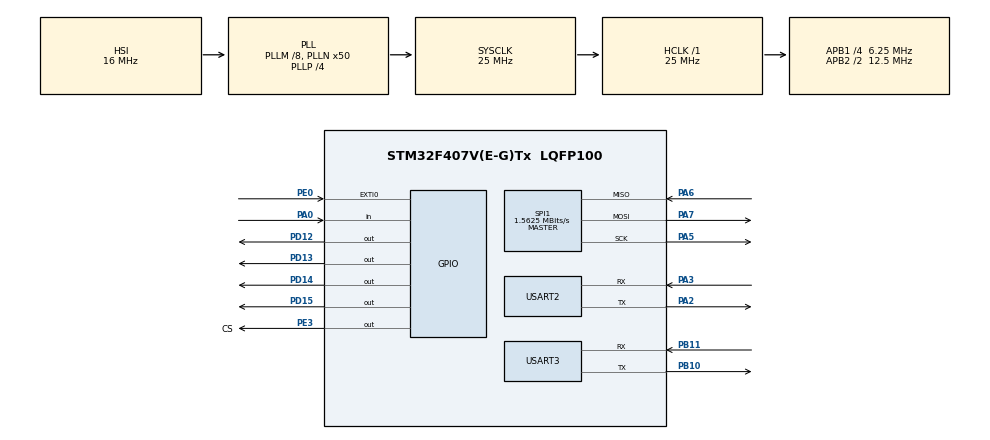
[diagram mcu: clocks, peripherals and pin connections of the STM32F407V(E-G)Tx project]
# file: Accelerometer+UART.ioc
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Mcu.Family=STM32F4
Mcu.Name=STM32F407V(E-G)Tx
Mcu.Package=LQFP100
NVIC.EXTI0_IRQn=true\:0\:0\:false\:false\:true\:true
NVIC.PriorityGroup=NVIC_PRIORITYGROUP_0
NVIC.USART2_IRQn=true\:0\:0\:false\:false\:true\:true
NVIC.USART3_IRQn=true\:0\:0\:false\:false\:true\:true
PA0-WKUP.Signal=GPIO_Input
PA2.Mode=Asynchronous
PA2.Signal=USART2_TX
PA3.Mode=Asynchronous
PA3.Signal=USART2_RX
PA5.Mode=Full_Duplex_Master
PA5.Signal=SPI1_SCK
PA6.Mode=Full_Duplex_Master
PA6.Signal=SPI1_MISO
PA7.Mode=Full_Duplex_Master
PA7.Signal=SPI1_MOSI
PB10.Mode=Asynchronous
PB10.Signal=USART3_TX
PB11.Mode=Asynchronous
PB11.Signal=USART3_RX
PD12.Signal=GPIO_Output
PD13.Signal=GPIO_Output
PD14.Signal=GPIO_Output
PD15.Signal=GPIO_Output
PE0.Signal=GPXTI0
PE3.GPIO_Label=CS
PE3.Signal=GPIO_Output
ProjectManager.HeapSize=0x200
ProjectManager.StackSize=0x400
ProjectManager.TargetToolchain=TrueSTUDIO
RCC.48MHZClocksFreq_Value=14285714.285714285
RCC.AHBFreq_Value=25000000
RCC.APB1CLKDivider=RCC_HCLK_DIV4
RCC.APB1Freq_Value=6250000
RCC.APB1TimFreq_Value=12500000
RCC.APB2CLKDivider=RCC_HCLK_DIV2
RCC.APB2Freq_Value=12500000
RCC.APB2TimFreq_Value=25000000
RCC.CortexFreq_Value=25000000
RCC.HCLKFreq_Value=25000000
RCC.HSE_VALUE=8000000
RCC.HSI_VALUE=16000000
RCC.LSE_VALUE=32768
RCC.PLLM=8
RCC.PLLN=50
RCC.PLLP=RCC_PLLP_DIV4
RCC.PLLQ=7
RCC.SYSCLKFreq_VALUE=25000000
RCC.SYSCLKSource=RCC_SYSCLKSOURCE_PLLCLK
RCC.VCOOutputFreq_Value=100000000
SPI1.BaudRatePrescaler=SPI_BAUDRATEPRESCALER_8
SPI1.CalculateBaudRate=1.5625 MBits/s
SPI1.Direction=SPI_DIRECTION_2LINES
SPI1.Mode=SPI_MODE_MASTER
SPI1.VirtualType=VM_MASTER
USART2.VirtualMode=VM_ASYNC
USART3.VirtualMode=VM_ASYNC
board=STM32F4DISCOVERY

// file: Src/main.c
/* USER CODE BEGIN Header */
/**
  ******************************************************************************
  * @file           : main.c
  * @brief          : Main program body
  ******************************************************************************
  ** This notice applies to any and all portions of this file
  * that are not between comment pairs USER CODE BEGIN and
  * USER CODE END. Other portions of this file, whether
  * inserted by the user or by software development tools
  * are owned by their respective copyright owners.
  *
  * COPYRIGHT(c) 2019 STMicroelectronics
  *
  * Redistribution and use in source and binary forms, with or without modification,
  * are permitted provided that the following conditions are met:
  *   1. Redistributions of source code must retain the above copyright notice,
  *      this list of conditions and the following disclaimer.
  *   2. Redistributions in binary form must reproduce the above copyright notice,
  *      this list of conditions and the following disclaimer in the documentation
  *      and/or other materials provided with the distribution.
  *   3. Neither the name of STMicroelectronics nor the names of its contributors
  *      may be used to endorse or promote products derived from this software
  *      without specific prior written permission.
  *
  * THIS SOFTWARE IS PROVIDED BY THE COPYRIGHT HOLDERS AND CONTRIBUTORS "AS IS"
  * AND ANY EXPRESS OR IMPLIED WARRANTIES, INCLUDING, BUT NOT LIMITED TO, THE
  * IMPLIED WARRANTIES OF MERCHANTABILITY AND FITNESS FOR A PARTICULAR PURPOSE ARE
  * DISCLAIMED. IN NO EVENT SHALL THE COPYRIGHT HOLDER OR CONTRIBUTORS BE LIABLE
  * FOR ANY DIRECT, INDIRECT, INCIDENTAL, SPECIAL, EXEMPLARY, OR CONSEQUENTIAL
  * DAMAGES (INCLUDING, BUT NOT LIMITED TO, PROCUREMENT OF SUBSTITUTE GOODS OR
  * SERVICES; LOSS OF USE, DATA, OR PROFITS; OR BUSINESS INTERRUPTION) HOWEVER
  * CAUSED AND ON ANY THEORY OF LIABILITY, WHETHER IN CONTRACT, STRICT LIABILITY,
  * OR TORT (INCLUDING NEGLIGENCE OR OTHERWISE) ARISING IN ANY WAY OUT OF THE USE
  * OF THIS SOFTWARE, EVEN IF ADVISED OF THE POSSIBILITY OF SUCH DAMAGE.
  *
  ******************************************************************************
  */
/* USER CODE END Header */

#include "main.h"
#include "MY_LIS3DSH.h"
#include "stm32f4xx_hal.h"
#include <string.h>
#include <stdio.h>
#include <stdlib.h>

SPI_HandleTypeDef hspi1;

UART_HandleTypeDef huart2;
UART_HandleTypeDef huart3;

void SystemClock_Config(void);
static void MX_GPIO_Init(void);
static void MX_SPI1_Init(void);
static void MX_USART2_UART_Init(void);
static void MX_USART3_UART_Init(void);

//ACCELEROMETER DATA
LIS3DSH_DataScaled myData;

int main(void)
{
  /* USER CODE BEGIN 1 */
	LIS3DSH_InitTypeDef MyAccConfDeff;
  /* USER CODE END 1 */

  /* MCU Configuration--------------------------------------------------------*/

  /* Reset of all peripherals, Initializes the Flash interface and the Systick. */
  HAL_Init();

  /* Configure the system clock */
  SystemClock_Config();

  /* Initialize all configured peripherals */
  MX_GPIO_Init();
  MX_SPI1_Init();
  MX_USART2_UART_Init();
  MX_USART3_UART_Init();

  /* ACCELEMOTER PARAMETERS */
  MyAccConfDeff.dataRate = LIS3DSH_DATARATE_12_5;
  MyAccConfDeff.fullScale = LIS3DSH_FULLSCALE_4;
  MyAccConfDeff.antiAliasingBW = LIS3DSH_FILTER_BW_50;
  MyAccConfDeff.enableAxes = LIS3DSH_XYZ_ENABLE;
  MyAccConfDeff.interruptEnable = false;

  LIS3DSH_Init(&hspi1, &MyAccConfDeff);

  /*UART VARIABLES*/

  /*ITERATIVE CONTROL*/
  int a=0;
  int b=0;
  int j=0;

  /* Infinite loop */
  /* USER CODE BEGIN WHILE */
  while (1)
  {
	  if(LIS3DSH_PollDRDY(1000) == true ){			//condition for initialize mesure

	 		 myData = LIS3DSH_GetDataScaled();			//mesure

	 		 int datax;
	 		 int datay;

	 		datax=(int)myData.x;		//convert data float-int
	 		datay=(int)myData.y;

	 		char DataX[15];
	 		char DataY[15];
	 		sprintf(DataX,"%d",datax);	//convert data int-string
	 		sprintf(DataY,"%d",datay);
	 		strcat(DataX, "\n");
	 		strcat(DataY, "\n");

	 		 //iterative data send for test a continious graph
	 	  if (a==b) {

	 		  HAL_UART_Transmit(&huart3, (uint8_t *)DataY, strlen(DataY), 5);
	 		  	  a=a+1;
	 		  	  HAL_Delay(10);

	 	} else {
	 		HAL_UART_Transmit(&huart2, (uint8_t *)DataX, strlen(DataX), 5);
	 		j=1;
	 		HAL_Delay(10);

	 	}

	 	  if (j != 0) {

	 		  a=0;
	 		  j=0;

	 	}
	  }
    /* USER CODE END WHILE */

  }
  /* USER CODE END 3 */
}

void SystemClock_Config(void)
{
  RCC_OscInitTypeDef RCC_OscInitStruct = {0};
  RCC_ClkInitTypeDef RCC_ClkInitStruct = {0};

  /**Configure the main internal regulator output voltage
  */
  __HAL_RCC_PWR_CLK_ENABLE();
  __HAL_PWR_VOLTAGESCALING_CONFIG(PWR_REGULATOR_VOLTAGE_SCALE1);
  /**Initializes the CPU, AHB and APB busses clocks
  */
  RCC_OscInitStruct.OscillatorType = RCC_OSCILLATORTYPE_HSI;
  RCC_OscInitStruct.HSIState = RCC_HSI_ON;
  RCC_OscInitStruct.HSICalibrationValue = RCC_HSICALIBRATION_DEFAULT;
  RCC_OscInitStruct.PLL.PLLState = RCC_PLL_ON;
  RCC_OscInitStruct.PLL.PLLSource = RCC_PLLSOURCE_HSI;
  RCC_OscInitStruct.PLL.PLLM = 8;
  RCC_OscInitStruct.PLL.PLLN = 50;
  RCC_OscInitStruct.PLL.PLLP = RCC_PLLP_DIV4;
  RCC_OscInitStruct.PLL.PLLQ = 7;
  if (HAL_RCC_OscConfig(&RCC_OscInitStruct) != HAL_OK)
  {
    Error_Handler();
  }
  /**Initializes the CPU, AHB and APB busses clocks
  */
  RCC_ClkInitStruct.ClockType = RCC_CLOCKTYPE_HCLK|RCC_CLOCKTYPE_SYSCLK
                              |RCC_CLOCKTYPE_PCLK1|RCC_CLOCKTYPE_PCLK2;
  RCC_ClkInitStruct.SYSCLKSource = RCC_SYSCLKSOURCE_PLLCLK;
  RCC_ClkInitStruct.AHBCLKDivider = RCC_SYSCLK_DIV1;
  RCC_ClkInitStruct.APB1CLKDivider = RCC_HCLK_DIV4;
  RCC_ClkInitStruct.APB2CLKDivider = RCC_HCLK_DIV2;

  if (HAL_RCC_ClockConfig(&RCC_ClkInitStruct, FLASH_LATENCY_0) != HAL_OK)
  {
    Error_Handler();
  }
}

static void MX_SPI1_Init(void)
{

  /* SPI1 parameter configuration*/
  hspi1.Instance = SPI1;
  hspi1.Init.Mode = SPI_MODE_MASTER;
  hspi1.Init.Direction = SPI_DIRECTION_2LINES;
  hspi1.Init.DataSize = SPI_DATASIZE_8BIT;
  hspi1.Init.CLKPolarity = SPI_POLARITY_LOW;
  hspi1.Init.CLKPhase = SPI_PHASE_1EDGE;
  hspi1.Init.NSS = SPI_NSS_SOFT;
  hspi1.Init.BaudRatePrescaler = SPI_BAUDRATEPRESCALER_8;
  hspi1.Init.FirstBit = SPI_FIRSTBIT_MSB;
  hspi1.Init.TIMode = SPI_TIMODE_DISABLE;
  hspi1.Init.CRCCalculation = SPI_CRCCALCULATION_DISABLE;
  hspi1.Init.CRCPolynomial = 10;
  if (HAL_SPI_Init(&hspi1) != HAL_OK)
  {
    Error_Handler();
  }

}

static void MX_USART2_UART_Init(void)
{

  huart2.Instance = USART2;
  huart2.Init.BaudRate = 115200;
  huart2.Init.WordLength = UART_WORDLENGTH_8B;
  huart2.Init.StopBits = UART_STOPBITS_1;
  huart2.Init.Parity = UART_PARITY_NONE;
  huart2.Init.Mode = UART_MODE_TX_RX;
  huart2.Init.HwFlowCtl = UART_HWCONTROL_NONE;
  huart2.Init.OverSampling = UART_OVERSAMPLING_16;
  if (HAL_UART_Init(&huart2) != HAL_OK)
  {
    Error_Handler();
  }

}

static void MX_USART3_UART_Init(void)
{

  huart3.Instance = USART3;
  huart3.Init.BaudRate = 115200;
  huart3.Init.WordLength = UART_WORDLENGTH_8B;
  huart3.Init.StopBits = UART_STOPBITS_1;
  huart3.Init.Parity = UART_PARITY_NONE;
  huart3.Init.Mode = UART_MODE_TX_RX;
  huart3.Init.HwFlowCtl = UART_HWCONTROL_NONE;
  huart3.Init.OverSampling = UART_OVERSAMPLING_16;
  if (HAL_UART_Init(&huart3) != HAL_OK)
  {
    Error_Handler();
  }

}

static void MX_GPIO_Init(void)
{
  GPIO_InitTypeDef GPIO_InitStruct = {0};

  /* GPIO Ports Clock Enable */
  __HAL_RCC_GPIOE_CLK_ENABLE();
  __HAL_RCC_GPIOA_CLK_ENABLE();
  __HAL_RCC_GPIOB_CLK_ENABLE();
  __HAL_RCC_GPIOD_CLK_ENABLE();

  /*Configure GPIO pin Output Level */
  HAL_GPIO_WritePin(CS_GPIO_Port, CS_Pin, GPIO_PIN_RESET);

  /*Configure GPIO pin Output Level */
  HAL_GPIO_WritePin(GPIOD, GPIO_PIN_12|GPIO_PIN_13|GPIO_PIN_14|GPIO_PIN_15, GPIO_PIN_RESET);

  /*Configure GPIO pin : CS_Pin */
  GPIO_InitStruct.Pin = CS_Pin;
  GPIO_InitStruct.Mode = GPIO_MODE_OUTPUT_PP;
  GPIO_InitStruct.Pull = GPIO_NOPULL;
  GPIO_InitStruct.Speed = GPIO_SPEED_FREQ_LOW;
  HAL_GPIO_Init(CS_GPIO_Port, &GPIO_InitStruct);

  /*Configure GPIO pin : PA0 */
  GPIO_InitStruct.Pin = GPIO_PIN_0;
  GPIO_InitStruct.Mode = GPIO_MODE_INPUT;
  GPIO_InitStruct.Pull = GPIO_NOPULL;
  HAL_GPIO_Init(GPIOA, &GPIO_InitStruct);

  /*Configure GPIO pins : PD12 PD13 PD14 PD15 */
  GPIO_InitStruct.Pin = GPIO_PIN_12|GPIO_PIN_13|GPIO_PIN_14|GPIO_PIN_15;
  GPIO_InitStruct.Mode = GPIO_MODE_OUTPUT_PP;
  GPIO_InitStruct.Pull = GPIO_NOPULL;
  GPIO_InitStruct.Speed = GPIO_SPEED_FREQ_LOW;
  HAL_GPIO_Init(GPIOD, &GPIO_InitStruct);

  /*Configure GPIO pin : PE0 */
  GPIO_InitStruct.Pin = GPIO_PIN_0;
  GPIO_InitStruct.Mode = GPIO_MODE_IT_RISING;
  GPIO_InitStruct.Pull = GPIO_NOPULL;
  HAL_GPIO_Init(GPIOE, &GPIO_InitStruct);

  /* EXTI interrupt init*/
  HAL_NVIC_SetPriority(EXTI0_IRQn, 0, 0);
  HAL_NVIC_EnableIRQ(EXTI0_IRQn);

}

void Error_Handler(void)
{
}

/************************ (C) COPYRIGHT STMicroelectronics *****END OF FILE****/
